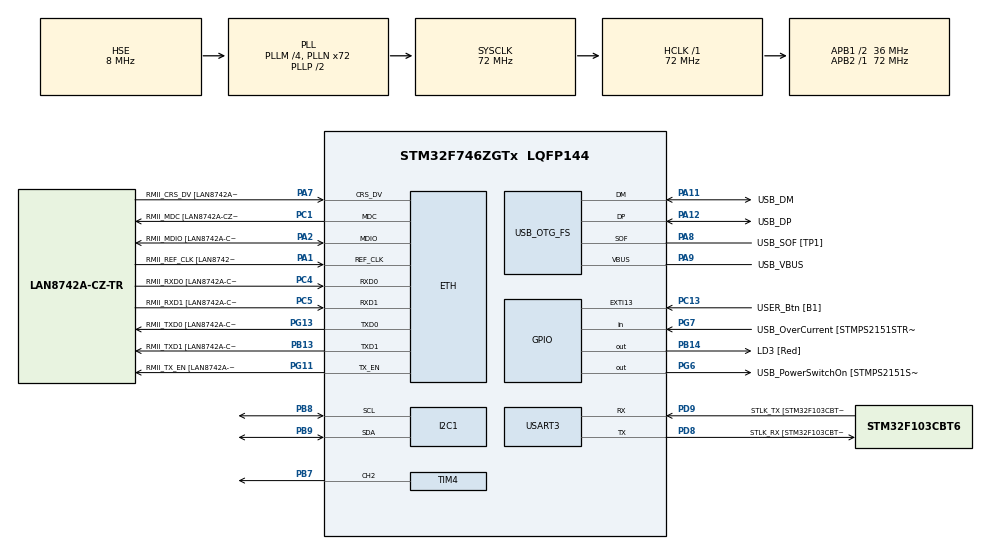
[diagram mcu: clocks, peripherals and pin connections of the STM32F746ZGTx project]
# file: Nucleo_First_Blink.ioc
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CORTEX_M7.default_mode_Activation=1
ETH.MediaInterface=HAL_ETH_RMII_MODE
ETH.PHY_Name=LAN8742A_PHY_ADDRESS
ETH.PHY_Value=0
ETH.PhyAddress=0
I2C1.Timing=0x00808CD2
Mcu.Family=STM32F7
Mcu.Name=STM32F746ZGTx
Mcu.Package=LQFP144
NVIC.PriorityGroup=NVIC_PRIORITYGROUP_4
NVIC.USART3_IRQn=true\:0\:0\:false\:false\:true\:true\:true\:true
PA1.GPIO_Label=RMII_REF_CLK [LAN8742A-CZ-TR_REFCLK0]
PA1.Mode=RMII
PA1.Signal=ETH_REF_CLK
PA10.GPIO_Label=USB_ID
PA10.Signal=USB_OTG_FS_ID
PA11.GPIO_Label=USB_DM
PA11.Mode=Device_Only
PA11.Signal=USB_OTG_FS_DM
PA12.GPIO_Label=USB_DP
PA12.Mode=Device_Only
PA12.Signal=USB_OTG_FS_DP
PA13.GPIO_Label=TMS
PA13.Mode=Serial_Wire
PA13.Signal=SYS_JTMS-SWDIO
PA14.GPIO_Label=TCK
PA14.Mode=Serial_Wire
PA14.Signal=SYS_JTCK-SWCLK
PA2.GPIO_Label=RMII_MDIO [LAN8742A-CZ-TR_MDIO]
PA2.Mode=RMII
PA2.Signal=ETH_MDIO
PA7.GPIO_Label=RMII_CRS_DV [LAN8742A-CZ-TR_CRS_DV]
PA7.Mode=RMII
PA7.Signal=ETH_CRS_DV
PA8.GPIO_Label=USB_SOF [TP1]
PA8.Mode=Activate_SOF_FS
PA8.Signal=USB_OTG_FS_SOF
PA9.GPIO_Label=USB_VBUS
PA9.Mode=Activate_VBUS
PA9.Signal=USB_OTG_FS_VBUS
PB13.GPIO_Label=RMII_TXD1 [LAN8742A-CZ-TR_TXD1]
PB13.Mode=RMII
PB13.Signal=ETH_TXD1
PB14.GPIO_Label=LD3 [Red]
PB14.Signal=GPIO_Output
PB3.GPIO_Label=SW0
PB3.Signal=SYS_JTDO-SWO
PB7.Signal=S_TIM4_CH2
PB8.Mode=I2C
PB8.Signal=I2C1_SCL
PB9.Mode=I2C
PB9.Signal=I2C1_SDA
PC1.GPIO_Label=RMII_MDC [LAN8742A-CZ-TR_MDC]
PC1.Mode=RMII
PC1.Signal=ETH_MDC
PC13.GPIO_Label=USER_Btn [B1]
PC13.Signal=GPXTI13
PC14/OSC32_IN.Mode=LSE-External-Oscillator
PC14/OSC32_IN.Signal=RCC_OSC32_IN
PC15/OSC32_OUT.Mode=LSE-External-Oscillator
PC15/OSC32_OUT.Signal=RCC_OSC32_OUT
PC4.GPIO_Label=RMII_RXD0 [LAN8742A-CZ-TR_RXD0]
PC4.Mode=RMII
PC4.Signal=ETH_RXD0
PC5.GPIO_Label=RMII_RXD1 [LAN8742A-CZ-TR_RXD1]
PC5.Mode=RMII
PC5.Signal=ETH_RXD1
PD8.GPIO_Label=STLK_RX [STM32F103CBT6_PA3]
PD8.GPIO_PuPd=GPIO_PULLUP
PD8.Mode=Asynchronous
PD8.Signal=USART3_TX
PD9.GPIO_Label=STLK_TX [STM32F103CBT6_PA2]
PD9.GPIO_PuPd=GPIO_PULLUP
PD9.Mode=Asynchronous
PD9.Signal=USART3_RX
PG11.GPIO_Label=RMII_TX_EN [LAN8742A-CZ-TR_TXEN]
PG11.Mode=RMII
PG11.Signal=ETH_TX_EN
PG13.GPIO_Label=RMII_TXD0 [LAN8742A-CZ-TR_TXD0]
PG13.Mode=RMII
PG13.Signal=ETH_TXD0
PG6.GPIO_Label=USB_PowerSwitchOn [STMPS2151STR_EN]
PG6.Signal=GPIO_Output
PG7.GPIO_Label=USB_OverCurrent [STMPS2151STR_FAULT]
PG7.Signal=GPIO_Input
PH0/OSC_IN.GPIO_Label=MCO [STM32F103CBT6_PA8]
PH0/OSC_IN.Mode=HSE-External-Clock-Source
PH0/OSC_IN.Signal=RCC_OSC_IN
PH1/OSC_OUT.Mode=HSE-External-Clock-Source
PH1/OSC_OUT.Signal=RCC_OSC_OUT
ProjectManager.HeapSize=0x200
ProjectManager.StackSize=0x400
ProjectManager.TargetToolchain=CMake
RCC.48MHZClocksFreq_Value=24000000
RCC.AHBFreq_Value=72000000
RCC.APB1CLKDivider=RCC_HCLK_DIV2
RCC.APB1Freq_Value=36000000
RCC.APB1TimFreq_Value=72000000
RCC.APB2Freq_Value=72000000
RCC.APB2TimFreq_Value=72000000
RCC.CortexFreq_Value=72000000
RCC.HCLKFreq_Value=72000000
RCC.HSE_VALUE=8000000
RCC.HSI_VALUE=16000000
RCC.PLLM=4
RCC.PLLMUL=RCC_PLL_MUL9
RCC.PLLN=72
RCC.PLLQ=3
RCC.PRESCALERUSB=RCC_USBCLKSOURCE_PLL_DIV1_5
RCC.SYSCLKFreq_VALUE=72000000
RCC.SYSCLKSource=RCC_SYSCLKSOURCE_PLLCLK
RCC.SYSCLKSourceVirtual=RCC_SYSCLKSOURCE_PLLCLK
RCC.USBFreq_Value=48000000
RCC.VCOOutputFreq_Value=144000000
SH.S_TIM4_CH2.0=TIM4_CH2,PWM Generation2 CH2
TIM3.Period=999
TIM3.Prescaler=71
TIM4.Channel-PWM\ Generation2\ CH2=TIM_CHANNEL_2
TIM4.Period=999
TIM4.Prescaler=71
USART3.VirtualMode-Asynchronous=VM_ASYNC
USB_OTG_FS.VirtualMode=Device_Only
VP_TIM3_VS_ClockSourceINT.Mode=Internal
VP_TIM4_VS_ClockSourceINT.Mode=Internal
board=NUCLEO-F746ZG

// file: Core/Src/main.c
/* USER CODE BEGIN Header */
/**
  ******************************************************************************
  * @file           : main.c
  * @brief          : Main program body
  ******************************************************************************
  * @attention
  *
  * Copyright (c) 2026 STMicroelectronics.
  * All rights reserved.
  *
  * This software is licensed under terms that can be found in the LICENSE file
  * in the root directory of this software component.
  * If no LICENSE file comes with this software, it is provided AS-IS.
  *
  ******************************************************************************
  */
/* USER CODE END Header */
#include "main.h"
#include "string.h"

/* USER CODE BEGIN PD */
#define DEBOUNCE_DELAY_MS  50U
/* USER CODE END PD */

#if defined ( __ICCARM__ ) /*!< IAR Compiler */
#pragma location=0x2004c000
ETH_DMADescTypeDef  DMARxDscrTab[ETH_RX_DESC_CNT]; /* Ethernet Rx DMA Descriptors */
#pragma location=0x2004c0a0
ETH_DMADescTypeDef  DMATxDscrTab[ETH_TX_DESC_CNT]; /* Ethernet Tx DMA Descriptors */

#elif defined ( __CC_ARM )  /* MDK ARM Compiler */

__attribute__((at(0x2004c000))) ETH_DMADescTypeDef  DMARxDscrTab[ETH_RX_DESC_CNT]; /* Ethernet Rx DMA Descriptors */
__attribute__((at(0x2004c0a0))) ETH_DMADescTypeDef  DMATxDscrTab[ETH_TX_DESC_CNT]; /* Ethernet Tx DMA Descriptors */

#elif defined ( __GNUC__ ) /* GNU Compiler */

ETH_DMADescTypeDef DMARxDscrTab[ETH_RX_DESC_CNT] __attribute__((section(".RxDecripSection"))); /* Ethernet Rx DMA Descriptors */
ETH_DMADescTypeDef DMATxDscrTab[ETH_TX_DESC_CNT] __attribute__((section(".TxDecripSection")));   /* Ethernet Tx DMA Descriptors */
#endif

ETH_TxPacketConfig TxConfig;

ETH_HandleTypeDef heth;

I2C_HandleTypeDef hi2c1;

TIM_HandleTypeDef htim3;
TIM_HandleTypeDef htim4;

UART_HandleTypeDef huart3;

PCD_HandleTypeDef hpcd_USB_OTG_FS;

/* USER CODE BEGIN PV */
static GPIO_PinState prevStableBtn = GPIO_PIN_RESET;
static GPIO_PinState lastRawBtn    = GPIO_PIN_RESET;
static uint32_t      debounceTimer = 0;
static uint32_t      lastFadeTime  = 0;
static int32_t       fadeValue     = 0;
static int32_t       fadeStep      = 1;
/* USER CODE END PV */

void SystemClock_Config(void);
static void MPU_Config(void);
static void MX_GPIO_Init(void);
static void MX_ETH_Init(void);
static void MX_I2C1_Init(void);
static void MX_USART3_UART_Init(void);
static void MX_USB_OTG_FS_PCD_Init(void);
static void MX_TIM3_Init(void);
static void MX_TIM4_Init(void);

int main(void)
{

  /* MPU Configuration--------------------------------------------------------*/
  MPU_Config();

  /* MCU Configuration--------------------------------------------------------*/

  /* Reset of all peripherals, Initializes the Flash interface and the Systick. */
  HAL_Init();

  /* Configure the system clock */
  SystemClock_Config();

  /* Initialize all configured peripherals */
  MX_GPIO_Init();
  MX_ETH_Init();
  MX_I2C1_Init();
  MX_USART3_UART_Init();
  MX_USB_OTG_FS_PCD_Init();
  MX_TIM3_Init();
  MX_TIM4_Init();
  /* USER CODE BEGIN 2 */
  const char *msgOnline = "Drone System Online - Waiting for commands...\r\n";
  HAL_UART_Transmit(&huart3, (uint8_t *)msgOnline, strlen(msgOnline), HAL_MAX_DELAY);
  HAL_TIM_PWM_Start(&htim4, TIM_CHANNEL_2);
  /* USER CODE END 2 */

  /* Infinite loop */
  while (1)
  {

    /* USER CODE BEGIN 3 */
    /* --- Button telemetry (debounced) --- */
    GPIO_PinState rawBtn = HAL_GPIO_ReadPin(USER_Btn_GPIO_Port, USER_Btn_Pin);

    if (rawBtn != lastRawBtn)
    {
      debounceTimer = HAL_GetTick();
      lastRawBtn = rawBtn;
    }

    if ((HAL_GetTick() - debounceTimer) > DEBOUNCE_DELAY_MS)
    {
      if (rawBtn != prevStableBtn)
      {
        prevStableBtn = rawBtn;
        if (rawBtn == GPIO_PIN_SET)
        {
          const char *msgPress = "Button Pressed!\r\n";
          HAL_UART_Transmit(&huart3, (uint8_t *)msgPress, strlen(msgPress), HAL_MAX_DELAY);
        }
      }
    }

    /* --- PWM smooth fade: 0→999→0, 1 step every 2ms (~4s cycle) --- */
    if ((HAL_GetTick() - lastFadeTime) >= 2U)
    {
      lastFadeTime = HAL_GetTick();
      fadeValue += fadeStep;
      if (fadeValue >= 999) { fadeValue = 999; fadeStep = -1; }
      else if (fadeValue <= 0) { fadeValue = 0;   fadeStep =  1; }
      __HAL_TIM_SET_COMPARE(&htim4, TIM_CHANNEL_2, (uint32_t)fadeValue);
    }

    /* --- Process received PC command (polled, non-blocking) --- */
    uint8_t cmdByte;
    if (HAL_UART_Receive(&huart3, &cmdByte, 1, 0) == HAL_OK)
    {
      if (cmdByte == '1')
      {
        HAL_GPIO_WritePin(LD3_GPIO_Port, LD3_Pin, GPIO_PIN_SET);
        const char *msg = "LED ON\r\n";
        HAL_UART_Transmit(&huart3, (uint8_t *)msg, strlen(msg), HAL_MAX_DELAY);
      }
      else if (cmdByte == '0')
      {
        HAL_GPIO_WritePin(LD3_GPIO_Port, LD3_Pin, GPIO_PIN_RESET);
        const char *msg = "LED OFF\r\n";
        HAL_UART_Transmit(&huart3, (uint8_t *)msg, strlen(msg), HAL_MAX_DELAY);
      }
    }

  }
  /* USER CODE END 3 */
}

void SystemClock_Config(void)
{
  RCC_OscInitTypeDef RCC_OscInitStruct = {0};
  RCC_ClkInitTypeDef RCC_ClkInitStruct = {0};

  /** Configure LSE Drive Capability
  */
  HAL_PWR_EnableBkUpAccess();

  /** Configure the main internal regulator output voltage
  */
  __HAL_RCC_PWR_CLK_ENABLE();
  __HAL_PWR_VOLTAGESCALING_CONFIG(PWR_REGULATOR_VOLTAGE_SCALE3);

  /** Initializes the RCC Oscillators according to the specified parameters
  * in the RCC_OscInitTypeDef structure.
  */
  RCC_OscInitStruct.OscillatorType = RCC_OSCILLATORTYPE_HSE;
  RCC_OscInitStruct.HSEState = RCC_HSE_BYPASS;
  RCC_OscInitStruct.PLL.PLLState = RCC_PLL_ON;
  RCC_OscInitStruct.PLL.PLLSource = RCC_PLLSOURCE_HSE;
  RCC_OscInitStruct.PLL.PLLM = 4;
  RCC_OscInitStruct.PLL.PLLN = 72;
  RCC_OscInitStruct.PLL.PLLP = RCC_PLLP_DIV2;
  RCC_OscInitStruct.PLL.PLLQ = 3;
  if (HAL_RCC_OscConfig(&RCC_OscInitStruct) != HAL_OK)
  {
    Error_Handler();
  }

  /** Initializes the CPU, AHB and APB buses clocks
  */
  RCC_ClkInitStruct.ClockType = RCC_CLOCKTYPE_HCLK|RCC_CLOCKTYPE_SYSCLK
                              |RCC_CLOCKTYPE_PCLK1|RCC_CLOCKTYPE_PCLK2;
  RCC_ClkInitStruct.SYSCLKSource = RCC_SYSCLKSOURCE_PLLCLK;
  RCC_ClkInitStruct.AHBCLKDivider = RCC_SYSCLK_DIV1;
  RCC_ClkInitStruct.APB1CLKDivider = RCC_HCLK_DIV2;
  RCC_ClkInitStruct.APB2CLKDivider = RCC_HCLK_DIV1;

  if (HAL_RCC_ClockConfig(&RCC_ClkInitStruct, FLASH_LATENCY_2) != HAL_OK)
  {
    Error_Handler();
  }
}

static void MX_ETH_Init(void)
{

   static uint8_t MACAddr[6];

  heth.Instance = ETH;
  MACAddr[0] = 0x00;
  MACAddr[1] = 0x80;
  MACAddr[2] = 0xE1;
  MACAddr[3] = 0x00;
  MACAddr[4] = 0x00;
  MACAddr[5] = 0x00;
  heth.Init.MACAddr = &MACAddr[0];
  heth.Init.MediaInterface = HAL_ETH_RMII_MODE;
  heth.Init.TxDesc = DMATxDscrTab;
  heth.Init.RxDesc = DMARxDscrTab;
  heth.Init.RxBuffLen = 1524;

  if (HAL_ETH_Init(&heth) != HAL_OK)
  {
    Error_Handler();
  }

  memset(&TxConfig, 0 , sizeof(ETH_TxPacketConfig));
  TxConfig.Attributes = ETH_TX_PACKETS_FEATURES_CSUM | ETH_TX_PACKETS_FEATURES_CRCPAD;
  TxConfig.ChecksumCtrl = ETH_CHECKSUM_IPHDR_PAYLOAD_INSERT_PHDR_CALC;
  TxConfig.CRCPadCtrl = ETH_CRC_PAD_INSERT;

}

static void MX_I2C1_Init(void)
{

  hi2c1.Instance = I2C1;
  hi2c1.Init.Timing = 0x00808CD2;
  hi2c1.Init.OwnAddress1 = 0;
  hi2c1.Init.AddressingMode = I2C_ADDRESSINGMODE_7BIT;
  hi2c1.Init.DualAddressMode = I2C_DUALADDRESS_DISABLE;
  hi2c1.Init.OwnAddress2 = 0;
  hi2c1.Init.OwnAddress2Masks = I2C_OA2_NOMASK;
  hi2c1.Init.GeneralCallMode = I2C_GENERALCALL_DISABLE;
  hi2c1.Init.NoStretchMode = I2C_NOSTRETCH_DISABLE;
  if (HAL_I2C_Init(&hi2c1) != HAL_OK)
  {
    Error_Handler();
  }

  /** Configure Analogue filter
  */
  if (HAL_I2CEx_ConfigAnalogFilter(&hi2c1, I2C_ANALOGFILTER_ENABLE) != HAL_OK)
  {
    Error_Handler();
  }

  /** Configure Digital filter
  */
  if (HAL_I2CEx_ConfigDigitalFilter(&hi2c1, 0) != HAL_OK)
  {
    Error_Handler();
  }

}

static void MX_TIM3_Init(void)
{

  TIM_ClockConfigTypeDef sClockSourceConfig = {0};
  TIM_MasterConfigTypeDef sMasterConfig = {0};

  htim3.Instance = TIM3;
  htim3.Init.Prescaler = 71;
  htim3.Init.CounterMode = TIM_COUNTERMODE_UP;
  htim3.Init.Period = 999;
  htim3.Init.ClockDivision = TIM_CLOCKDIVISION_DIV1;
  htim3.Init.AutoReloadPreload = TIM_AUTORELOAD_PRELOAD_DISABLE;
  if (HAL_TIM_Base_Init(&htim3) != HAL_OK)
  {
    Error_Handler();
  }
  sClockSourceConfig.ClockSource = TIM_CLOCKSOURCE_INTERNAL;
  if (HAL_TIM_ConfigClockSource(&htim3, &sClockSourceConfig) != HAL_OK)
  {
    Error_Handler();
  }
  sMasterConfig.MasterOutputTrigger = TIM_TRGO_RESET;
  sMasterConfig.MasterSlaveMode = TIM_MASTERSLAVEMODE_DISABLE;
  if (HAL_TIMEx_MasterConfigSynchronization(&htim3, &sMasterConfig) != HAL_OK)
  {
    Error_Handler();
  }

}

static void MX_TIM4_Init(void)
{

  TIM_ClockConfigTypeDef sClockSourceConfig = {0};
  TIM_MasterConfigTypeDef sMasterConfig = {0};
  TIM_OC_InitTypeDef sConfigOC = {0};

  htim4.Instance = TIM4;
  htim4.Init.Prescaler = 71;
  htim4.Init.CounterMode = TIM_COUNTERMODE_UP;
  htim4.Init.Period = 999;
  htim4.Init.ClockDivision = TIM_CLOCKDIVISION_DIV1;
  htim4.Init.AutoReloadPreload = TIM_AUTORELOAD_PRELOAD_DISABLE;
  if (HAL_TIM_Base_Init(&htim4) != HAL_OK)
  {
    Error_Handler();
  }
  sClockSourceConfig.ClockSource = TIM_CLOCKSOURCE_INTERNAL;
  if (HAL_TIM_ConfigClockSource(&htim4, &sClockSourceConfig) != HAL_OK)
  {
    Error_Handler();
  }
  if (HAL_TIM_PWM_Init(&htim4) != HAL_OK)
  {
    Error_Handler();
  }
  sMasterConfig.MasterOutputTrigger = TIM_TRGO_RESET;
  sMasterConfig.MasterSlaveMode = TIM_MASTERSLAVEMODE_DISABLE;
  if (HAL_TIMEx_MasterConfigSynchronization(&htim4, &sMasterConfig) != HAL_OK)
  {
    Error_Handler();
  }
  sConfigOC.OCMode = TIM_OCMODE_PWM1;
  sConfigOC.Pulse = 0;
  sConfigOC.OCPolarity = TIM_OCPOLARITY_HIGH;
  sConfigOC.OCFastMode = TIM_OCFAST_DISABLE;
  if (HAL_TIM_PWM_ConfigChannel(&htim4, &sConfigOC, TIM_CHANNEL_2) != HAL_OK)
  {
    Error_Handler();
  }
  HAL_TIM_MspPostInit(&htim4);

}

static void MX_USART3_UART_Init(void)
{

  huart3.Instance = USART3;
  huart3.Init.BaudRate = 115200;
  huart3.Init.WordLength = UART_WORDLENGTH_8B;
  huart3.Init.StopBits = UART_STOPBITS_1;
  huart3.Init.Parity = UART_PARITY_NONE;
  huart3.Init.Mode = UART_MODE_TX_RX;
  huart3.Init.HwFlowCtl = UART_HWCONTROL_NONE;
  huart3.Init.OverSampling = UART_OVERSAMPLING_16;
  huart3.Init.OneBitSampling = UART_ONE_BIT_SAMPLE_DISABLE;
  huart3.AdvancedInit.AdvFeatureInit = UART_ADVFEATURE_NO_INIT;
  if (HAL_UART_Init(&huart3) != HAL_OK)
  {
    Error_Handler();
  }

}

static void MX_USB_OTG_FS_PCD_Init(void)
{

  hpcd_USB_OTG_FS.Instance = USB_OTG_FS;
  hpcd_USB_OTG_FS.Init.dev_endpoints = 6;
  hpcd_USB_OTG_FS.Init.speed = PCD_SPEED_FULL;
  hpcd_USB_OTG_FS.Init.dma_enable = DISABLE;
  hpcd_USB_OTG_FS.Init.phy_itface = PCD_PHY_EMBEDDED;
  hpcd_USB_OTG_FS.Init.Sof_enable = ENABLE;
  hpcd_USB_OTG_FS.Init.low_power_enable = DISABLE;
  hpcd_USB_OTG_FS.Init.lpm_enable = DISABLE;
  hpcd_USB_OTG_FS.Init.vbus_sensing_enable = ENABLE;
  hpcd_USB_OTG_FS.Init.use_dedicated_ep1 = DISABLE;
  if (HAL_PCD_Init(&hpcd_USB_OTG_FS) != HAL_OK)
  {
    Error_Handler();
  }

}

static void MX_GPIO_Init(void)
{
  GPIO_InitTypeDef GPIO_InitStruct = {0};

  /* GPIO Ports Clock Enable */
  __HAL_RCC_GPIOC_CLK_ENABLE();
  __HAL_RCC_GPIOH_CLK_ENABLE();
  __HAL_RCC_GPIOA_CLK_ENABLE();
  __HAL_RCC_GPIOB_CLK_ENABLE();
  __HAL_RCC_GPIOD_CLK_ENABLE();
  __HAL_RCC_GPIOG_CLK_ENABLE();

  /*Configure GPIO pin Output Level */
  HAL_GPIO_WritePin(LD3_GPIO_Port, LD3_Pin, GPIO_PIN_RESET);

  /*Configure GPIO pin Output Level */
  HAL_GPIO_WritePin(USB_PowerSwitchOn_GPIO_Port, USB_PowerSwitchOn_Pin, GPIO_PIN_RESET);

  /*Configure GPIO pin : USER_Btn_Pin */
  GPIO_InitStruct.Pin = USER_Btn_Pin;
  GPIO_InitStruct.Mode = GPIO_MODE_IT_RISING;
  GPIO_InitStruct.Pull = GPIO_NOPULL;
  HAL_GPIO_Init(USER_Btn_GPIO_Port, &GPIO_InitStruct);

  /*Configure GPIO pin : LD3_Pin */
  GPIO_InitStruct.Pin = LD3_Pin;
  GPIO_InitStruct.Mode = GPIO_MODE_OUTPUT_PP;
  GPIO_InitStruct.Pull = GPIO_NOPULL;
  GPIO_InitStruct.Speed = GPIO_SPEED_FREQ_LOW;
  HAL_GPIO_Init(LD3_GPIO_Port, &GPIO_InitStruct);

  /*Configure GPIO pin : USB_PowerSwitchOn_Pin */
  GPIO_InitStruct.Pin = USB_PowerSwitchOn_Pin;
  GPIO_InitStruct.Mode = GPIO_MODE_OUTPUT_PP;
  GPIO_InitStruct.Pull = GPIO_NOPULL;
  GPIO_InitStruct.Speed = GPIO_SPEED_FREQ_LOW;
  HAL_GPIO_Init(USB_PowerSwitchOn_GPIO_Port, &GPIO_InitStruct);

  /*Configure GPIO pin : USB_OverCurrent_Pin */
  GPIO_InitStruct.Pin = USB_OverCurrent_Pin;
  GPIO_InitStruct.Mode = GPIO_MODE_INPUT;
  GPIO_InitStruct.Pull = GPIO_NOPULL;
  HAL_GPIO_Init(USB_OverCurrent_GPIO_Port, &GPIO_InitStruct);

}

 /* MPU Configuration */

void MPU_Config(void)
{
  MPU_Region_InitTypeDef MPU_InitStruct = {0};

  /* Disables the MPU */
  HAL_MPU_Disable();

  /** Initializes and configures the Region and the memory to be protected
  */
  MPU_InitStruct.Enable = MPU_REGION_ENABLE;
  MPU_InitStruct.Number = MPU_REGION_NUMBER0;
  MPU_InitStruct.BaseAddress = 0x0;
  MPU_InitStruct.Size = MPU_REGION_SIZE_4GB;
  MPU_InitStruct.SubRegionDisable = 0x87;
  MPU_InitStruct.TypeExtField = MPU_TEX_LEVEL0;
  MPU_InitStruct.AccessPermission = MPU_REGION_NO_ACCESS;
  MPU_InitStruct.DisableExec = MPU_INSTRUCTION_ACCESS_DISABLE;
  MPU_InitStruct.IsShareable = MPU_ACCESS_SHAREABLE;
  MPU_InitStruct.IsCacheable = MPU_ACCESS_NOT_CACHEABLE;
  MPU_InitStruct.IsBufferable = MPU_ACCESS_NOT_BUFFERABLE;

  HAL_MPU_ConfigRegion(&MPU_InitStruct);
  /* Enables the MPU */
  HAL_MPU_Enable(MPU_PRIVILEGED_DEFAULT);

}

void Error_Handler(void)
{
  __disable_irq();
  while (1)
  {
  }
}
